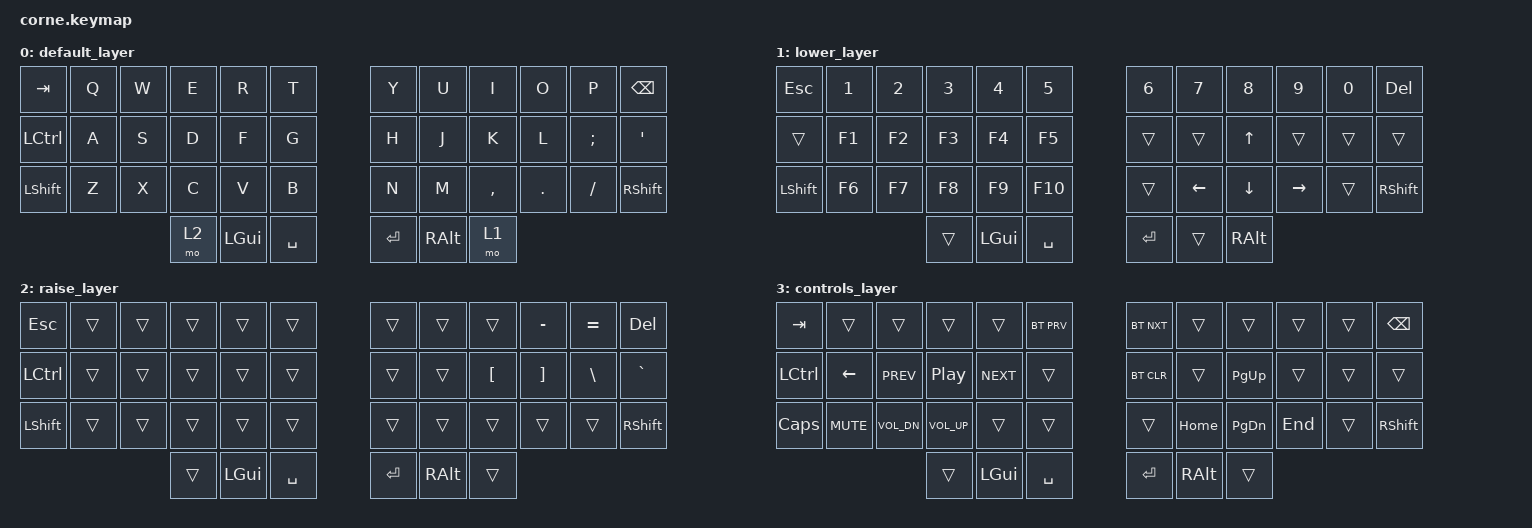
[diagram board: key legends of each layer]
/*
 * Copyright (c) 2020 The ZMK Contributors
 *
 * SPDX-License-Identifier: MIT
 */

#include <behaviors.dtsi>
#include <dt-bindings/zmk/keys.h>
#include <dt-bindings/zmk/bt.h>

/ {
    conditional_layers {
        compatible = "zmk,conditional-layers";
        tri_layer {
            if-layers = <1 2>;
            then-layer = <3>;
        };
    };
        keymap {
                compatible = "zmk,keymap";

                default_layer {
// -----------------------------------------------------------------------------------------
// |  TAB |  Q  |  W  |  E  |  R  |  T  |   |  Y  |  U   |  I  |  O  |  P  | BKSP |
// | CTRL |  A  |  S  |  D  |  F  |  G  |   |  H  |  J   |  K  |  L  |  ;  |  '   |
// | SHFT |  Z  |  X  |  C  |  V  |  B  |   |  N  |  M   |  ,  |  .  |  /  | SHFT |
//                    | LWR | GUI | SPC |   | ENT | ALT  | RSE |
                        bindings = <
   &kp TAB   &kp Q &kp W &kp E &kp R &kp T   &kp Y &kp U  &kp I     &kp O   &kp P    &kp BSPC
   &kp LCTRL &kp A &kp S &kp D &kp F &kp G   &kp H &kp J  &kp K     &kp L   &kp SEMI &kp SQT
   &kp LSHFT &kp Z &kp X &kp C &kp V &kp B   &kp N &kp M  &kp COMMA &kp DOT &kp FSLH &kp RSHFT
                   &mo 2 &kp LGUI &kp SPACE   &kp RET &kp RALT &mo 1
                        >;
                };
                lower_layer {
// With Shift I got Symbols with the numbers
// -----------------------------------------------------------------------------------------
// |  ESC |  1  |  2  |  3  |  4  |  5  |   |  6  |  7   |  8   |   9   |  0  | DEL  |
// |      |  F1 |  F2 |  F3 |  F4 |  F5 |   |     |      |  UP  |       |     |      |
// | SHFT |  F6 |  F7 |  F8 |  F9 | F10 |   |     | LEFT | DOWN | RIGHT |     | SHFT |
//                    |     | GUI | SPC |   | ENT | ALT  |      |
                        bindings = <
   &kp ESC    &kp N1   &kp N2   &kp N3   &kp N4   &kp N5       &kp N6   &kp N7   &kp N8    &kp N9   &kp N0  &kp DEL
   &trans     &kp F1   &kp F2   &kp F3   &kp F4   &kp F5       &trans   &trans   &kp UP    &trans   &trans  &trans
   &kp LSHFT  &kp F6   &kp F7   &kp F8   &kp F9   &kp F10      &trans   &kp LEFT &kp DOWN &kp RIGHT &trans  &kp RSHFT
                                &trans   &kp LGUI &kp SPACE    &kp RET  &trans   &kp RALT
                        >;
                };

                raise_layer {
// With Shift I got the symbols _, +, {, }, |, ~
// -----------------------------------------------------------------------------------------
// |  ESC |     |     |     |     |     |   |     |     |     |  -  |  =  | DEL   |
// | CTRL |     |     |     |     |     |   |     |     |  [  |  ]  |  \  |  `    |
// | SHFT |     |     |     |     |     |   |     |     |     |     |     |  SHFT |
//                    |     | GUI | SPC |   | ENT | ALT |     |
                        bindings = <
   &kp  ESC  &trans   &trans &trans   &trans   &trans     &trans    &trans    &trans   &kp MINUS   &kp EQUAL   &kp DEL
   &kp LCTRL &trans   &trans &trans   &trans   &trans     &trans    &trans    &kp LBKT &kp RBKT    &kp BSLH    &kp GRAVE
   &kp LSHFT &trans   &trans &trans   &trans   &trans     &trans    &trans    &trans   &trans      &trans      &kp RSHFT
                             &trans   &kp LGUI &kp SPACE  &kp RET   &kp RALT  &trans
                        >;
                };

              controls_layer {
// -----------------------------------------------------------------------------------------
// |  TAB |        |     |         |     | BT_PRV  |   | BT_NXT  |       |       |       |  BKSP |
// | CTRL | LFT    | PRV |  Play/P | NXT |         |   | BT_CLR  | PG_UP |       |       |       |
// | CAPS | MUTE   | VOL-| VOL+    |     |         |   | HOME    | PG_DN |  END  |       |  SHFT |
//                       |         | GUI |   SPC   |   | ENT     | ALT   |       |
                        bindings = <
   &kp  TAB  &trans     &trans        &trans       &trans      &bt BT_PRV     &bt BT_NXT    &trans      &trans      &trans   &trans   &kp BSPC
   &kp LCTRL &kp LEFT   &kp C_PREV    &kp C_PP     &kp C_NEXT  &trans         &bt BT_CLR    &trans      &kp PG_UP   &trans   &trans   &trans
   &kp CAPS  &kp C_MUTE &kp C_VOL_DN  &kp C_VOL_UP &trans      &trans         &trans        &kp HOME    &kp PG_DN   &kp END  &trans   &kp RSHFT
                                      &trans       &kp LGUI    &kp SPACE      &kp RET       &kp RALT    &trans
                        >;
              };
        };
};
